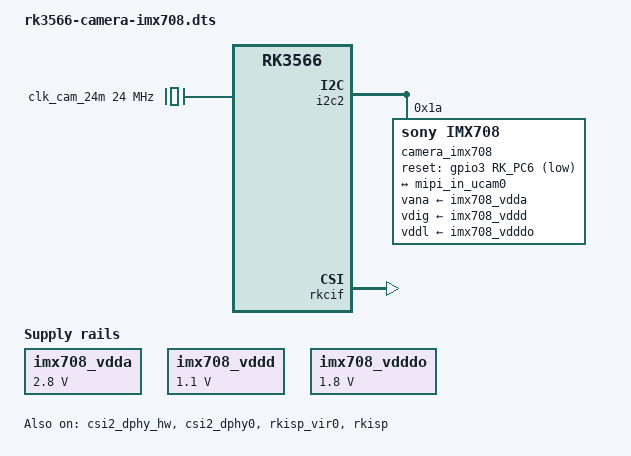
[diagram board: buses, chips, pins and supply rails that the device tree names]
/*
 * Device tree overlay for IMX708 (Raspberry Pi Camera Module 3) on RK3566
 *
 * Sony IMX708 - 12MP MIPI CSI-2 sensor
 * Used in Raspberry Pi Camera Module 3
 * Features HDR, autofocus, and wide dynamic range
 *
 * Compatible with Radxa Zero 3W and similar RK3566-based boards
 * Uses I2C2 and CSI2 DPHY0 in full mode (2 lanes)
 *
 * Note: Requires kernel CONFIG_VIDEO_IMX708=y and proper ISP tuning files
 *
 * Copyright (c) 2024 MYSh LLC
 */
/dts-v1/;
/plugin/;

#include "dt-bindings.h"

/ {
	compatible = "rockchip,rk3566";

	metadata {
		title = "IMX708 Camera (Raspberry Pi Camera v3)";
		category = "camera";
		exclusive = "csi2_dphy0";
		description = "Enable Sony IMX708 12MP camera sensor (RPi Camera v3) on CSI2 DPHY0";
	};
};

&{/} {
	clk_cam_24m: external-camera-clock-24m {
		status = "okay";
		compatible = "fixed-clock";
		clock-frequency = <24000000>;
		clock-output-names = "clk_cam_24m";
		#clock-cells = <0>;
	};

	imx708_vdda: imx708-vdda {
		status = "okay";
		compatible = "regulator-fixed";
		regulator-name = "imx708_vdda";
		regulator-min-microvolt = <2800000>;
		regulator-max-microvolt = <2800000>;
		regulator-always-on;
		regulator-boot-on;
	};

	imx708_vddd: imx708-vddd {
		status = "okay";
		compatible = "regulator-fixed";
		regulator-name = "imx708_vddd";
		regulator-min-microvolt = <1100000>;
		regulator-max-microvolt = <1100000>;
		regulator-always-on;
		regulator-boot-on;
	};

	imx708_vdddo: imx708-vdddo {
		status = "okay";
		compatible = "regulator-fixed";
		regulator-name = "imx708_vdddo";
		regulator-min-microvolt = <1800000>;
		regulator-max-microvolt = <1800000>;
		regulator-always-on;
		regulator-boot-on;
	};
};

&i2c2 {
	status = "okay";
	pinctrl-names = "default";
	pinctrl-0 = <&i2c2m1_xfer>;
	#address-cells = <1>;
	#size-cells = <0>;

	camera_imx708: camera-imx708@1a {
		status = "okay";
		compatible = "sony,imx708";
		reg = <0x1a>;
		clocks = <&clk_cam_24m>;
		clock-names = "xclk";

		vana-supply = <&imx708_vdda>;
		vdig-supply = <&imx708_vddd>;
		vddl-supply = <&imx708_vdddo>;

		reset-gpios = <&gpio3 RK_PC6 GPIO_ACTIVE_LOW>;

		rockchip,camera-module-index = <0>;
		rockchip,camera-module-facing = "back";
		rockchip,camera-module-name = "arducam-imx708";
		rockchip,camera-module-lens-name = "default";

		port {
			imx708_out: endpoint {
				remote-endpoint = <&mipi_in_ucam0>;
				data-lanes = <1 2>;
				link-frequencies = /bits/ 64 <450000000>;
			};
		};
	};
};

&csi2_dphy_hw {
	status = "okay";
};

&csi2_dphy0 {
	status = "okay";

	ports {
		#address-cells = <1>;
		#size-cells = <0>;

		port@0 {
			reg = <0>;
			#address-cells = <1>;
			#size-cells = <0>;

			mipi_in_ucam0: endpoint@1 {
				reg = <1>;
				remote-endpoint = <&imx708_out>;
				data-lanes = <1 2>;
			};
		};

		port@1 {
			reg = <1>;
			#address-cells = <1>;
			#size-cells = <0>;

			dphy0_out: endpoint@1 {
				reg = <1>;
				remote-endpoint = <&isp0_in>;
			};
		};
	};
};

&rkisp_vir0 {
	status = "okay";

	port {
		#address-cells = <1>;
		#size-cells = <0>;

		isp0_in: endpoint@0 {
			reg = <0>;
			remote-endpoint = <&dphy0_out>;
		};
	};
};

&rkisp {
	status = "okay";
};

&rkisp_mmu {
	status = "okay";
};

&rkcif_mmu {
	status = "okay";
};

&rkcif {
	status = "okay";
};
